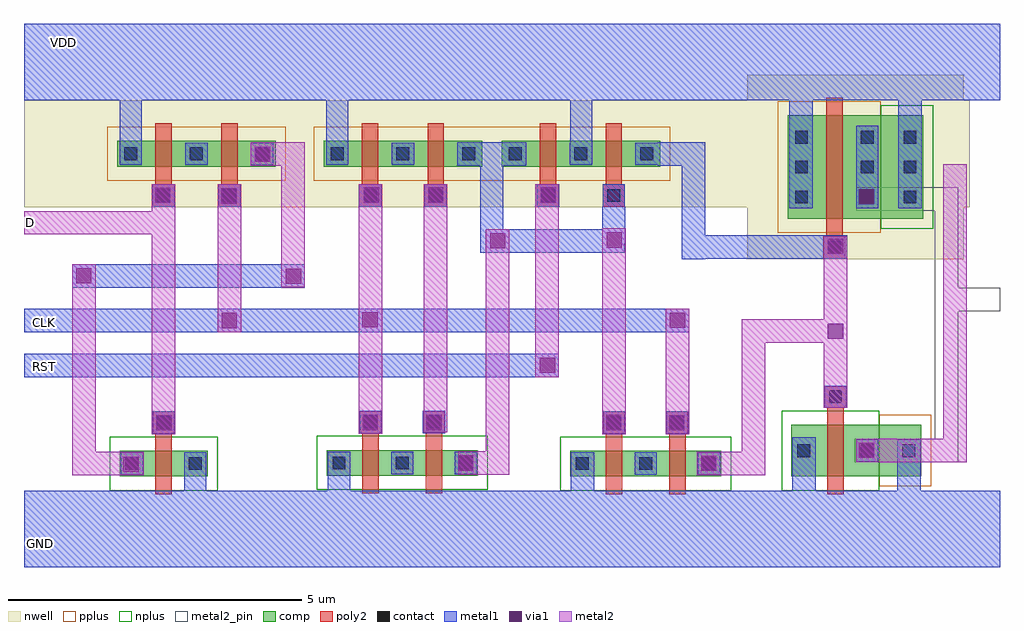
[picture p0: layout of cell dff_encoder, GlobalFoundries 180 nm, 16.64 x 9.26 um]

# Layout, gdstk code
import gdstk
lib = gdstk.Library(unit=1e-6, precision=5e-09)
def R(c, l, rs):  # rectangles x0, y0, x1, y1
    for r in rs: c.add(gdstk.rectangle(r[:2], r[2:], *l))
def A(c, l, x, y, w, h, nx, ny, dx, dy):  # array of equal rectangles
    R(c, l, [(x+i*dx, y+j*dy, x+i*dx+w, y+j*dy+h) for i in range(nx) for j in range(ny)])
nwell = (21, 0)
comp = (22, 0)
poly2 = (30, 0)
pplus = (31, 0)
nplus = (32, 0)
contact = (33, 0)
metal1 = (34, 0)
via1 = (35, 0)
metal2 = (36, 0)
metal2_pin = (36, 10)

pfet = lib.new_cell('pfet')
R(pfet, nwell, [(-0.9,-0.44,1.56,0.88)])
R(pfet, comp, [(-0.46,0,0,0.44), (0,0,0.66,0.44), (0.66,0,1.12,0.44)])
R(pfet, poly2, [(0.14,-0.68,0.52,-0.3), (0.19,-0.3,0.47,0.74)])
R(pfet, pplus, [(-0.63,-0.24,1.29,0.68)])
R(pfet, contact, [(0.22,-0.6,0.44,-0.38), (-0.34,0.11,-0.12,0.33), (0.78,0.11,1,0.33)])
R(pfet, metal1, [(0.14,-0.68,0.52,-0.3), (-0.42,0.03,-0.04,0.41), (0.7,0.03,1.08,0.41)])

nfet_1 = lib.new_cell('nfet$1')
R(nfet_1, comp, [(-0.42,0,0,0.44), (0,0,0.66,0.44), (0.66,0,1.08,0.44)])
R(nfet_1, poly2, [(0.19,-0.3,0.47,0.74), (0.15,0.74,0.51,1.1)])
R(nfet_1, nplus, [(-0.59,-0.24,1.25,0.68)])
R(nfet_1, contact, [(-0.32,0.11,-0.1,0.33), (0.76,0.11,0.98,0.33), (0.22,0.81,0.44,1.03)])
R(nfet_1, metal1, [(-0.4,0.03,-0.02,0.41), (0.68,0.03,1.06,0.41), (0.14,0.73,0.52,1.11)])

nfet_2 = lib.new_cell('nfet$2')
R(nfet_2, comp, [(-0.42,0,0,0.88), (0,0,0.66,0.88), (0.66,0,1.08,0.88), (1.08,0,1.79,0.88)])
R(nfet_2, poly2, [(0.19,-0.3,0.47,1.18), (0.15,1.18,0.51,1.54)])
R(nfet_2, pplus, [(1.08,-0.17,1.96,1.05)])
R(nfet_2, nplus, [(-0.59,-0.24,1.08,1.12)])
R(nfet_2, contact, [(-0.32,0.33,-0.1,0.55), (0.76,0.33,0.98,0.55), (1.47,0.33,1.69,0.55), (0.22,1.25,0.44,1.47)])
R(nfet_2, metal1, [(-0.4,0.25,-0.02,0.63), (0.68,0.25,1.06,0.63), (1.39,0.25,1.77,0.63), (0.14,1.17,0.52,1.55)])

pfet_1 = lib.new_cell('pfet$1')
R(pfet_1, nwell, [(-1.15,-0.69,2.54,2.45)])
R(pfet_1, comp, [(-0.46,0,0,1.76), (0,0,0.66,1.76), (0.66,0,1.12,1.76), (1.12,0,1.85,1.76)])
R(pfet_1, poly2, [(0.14,-0.68,0.52,-0.3), (0.19,-0.3,0.47,2.06)])
R(pfet_1, pplus, [(-0.63,-0.24,1.12,2)])
R(pfet_1, nplus, [(1.12,-0.17,2.02,1.93)])
A(pfet_1, contact, -0.34, 0.26, 0.22, 0.22, 1, 3, 0, 0.51)
A(pfet_1, contact, 0.78, 0.26, 0.22, 0.22, 1, 3, 0, 0.51)
A(pfet_1, contact, 1.51, 0.26, 0.22, 0.22, 1, 3, 0, 0.51)
R(pfet_1, contact, [(0.22,-0.6,0.44,-0.38)])
R(pfet_1, metal1, [(0.14,-0.68,0.52,-0.3), (-0.42,0.18,-0.04,1.58), (0.7,0.18,1.08,1.58), (1.43,0.18,1.81,1.58)])

dff_encoder = lib.new_cell('dff_encoder')
R(dff_encoder, nwell, [(1.465,7.17,17.58,8.99)])
R(dff_encoder, metal1, [(1.465,1.035,18.1,2.34), (10.78,2.34,11.18,2.99), (1.46,5.035,5.11,5.435), (11.315,6.56,11.715,7.18), (8.845,7.88,10.025,8.28), (1.465,8.99,18.1,10.295)])
R(dff_encoder, via1, [(3.155,2.66,3.415,2.92), (13.005,2.675,13.265,2.935), (8.86,2.68,9.12,2.94), (15.695,2.895,15.955,3.155), (3.715,3.365,3.975,3.625), (12.46,3.365,12.72,3.625), (7.235,3.37,7.495,3.63), (8.32,3.37,8.58,3.63), (11.385,3.37,11.645,3.63), (10.255,4.345,10.515,4.605), (15.165,4.925,15.425,5.185), (4.83,5.11,5.09,5.37), (12.47,5.115,12.73,5.375), (7.23,5.12,7.49,5.38), (5.925,5.865,6.185,6.125), (2.35,5.87,2.61,6.13), (15.165,6.375,15.425,6.635), (9.405,6.47,9.665,6.73), (11.395,6.48,11.655,6.74), (15.695,7.22,15.955,7.48), (4.825,7.23,5.085,7.49), (3.695,7.245,3.955,7.505), (7.255,7.25,7.515,7.51), (8.35,7.25,8.61,7.51), (10.27,7.25,10.53,7.51), (5.395,7.945,5.655,8.205)])
R(dff_encoder, metal2, [(5.33,7.88,6.25,8.28)])
dff_encoder.add(gdstk.FlexPath([(16.565,7.155),(16.565,8.99)], 0.4, ends="flush", simple_path=True, layer=34, datatype=0))  # metal1
dff_encoder.add(gdstk.FlexPath([(14.755,2.83),(14.755,2.34)], 0.4, ends="flush", simple_path=True, layer=34, datatype=0))  # metal1
dff_encoder.add(gdstk.FlexPath([(14.755,2.83),(14.755,3.25)], 0.4, ends="flush", simple_path=True, layer=34, datatype=0))  # metal1
dff_encoder.add(gdstk.FlexPath([(16.545,3.21),(16.545,2.34)], 0.4, ends="flush", simple_path=True, layer=34, datatype=0))  # metal1
dff_encoder.add(gdstk.FlexPath([(14.705,7.155),(14.705,8.99)], 0.4, ends="flush", simple_path=True, layer=34, datatype=0))  # metal1
dff_encoder.add(gdstk.FlexPath([(12.265,8.08),(12.875,8.08),(12.875,6.285)], 0.4, ends="flush", simple_path=True, layer=34, datatype=0))  # metal1
dff_encoder.add(gdstk.FlexPath([(12.675,6.495),(15.495,6.495)], 0.4, ends="flush", simple_path=True, layer=34, datatype=0))  # metal1
dff_encoder.add(gdstk.FlexPath([(3.28,8.27),(3.28,8.99)], 0.38, ends="flush", simple_path=True, layer=34, datatype=0))  # metal1
dff_encoder.add(gdstk.FlexPath([(6.8,8.27),(6.8,8.99)], 0.38, ends="flush", simple_path=True, layer=34, datatype=0))  # metal1
dff_encoder.add(gdstk.FlexPath([(4.83,5.24),(12.8,5.24)], 0.4, ends="flush", simple_path=True, layer=34, datatype=0))  # metal1
dff_encoder.add(gdstk.FlexPath([(6.25,5.995),(2.28,5.995)], 0.4, ends="flush", simple_path=True, layer=34, datatype=0))  # metal1
dff_encoder.add(gdstk.FlexPath([(10.58,4.475),(1.465,4.475)], 0.4, ends="flush", simple_path=True, layer=34, datatype=0))  # metal1
dff_encoder.add(gdstk.FlexPath([(10.96,8.27),(10.96,8.99),(10.96,8.99),(10.96,8.99)], 0.38, ends="flush", simple_path=True, layer=34, datatype=0))  # metal1
dff_encoder.add(gdstk.FlexPath([(9.435,7.89),(9.435,6.595),(11.705,6.595)], 0.4, ends="flush", simple_path=True, layer=34, datatype=0))  # metal1
dff_encoder.add(gdstk.FlexPath([(4.38,2.61),(4.38,2.34)], 0.38, ends="flush", simple_path=True, layer=34, datatype=0))  # metal1
dff_encoder.add(gdstk.FlexPath([(6.83,2.62),(6.83,2.335)], 0.38, ends="flush", simple_path=True, layer=34, datatype=0))  # metal1
dff_encoder.add(gdstk.FlexPath([(15.49,5.06),(13.7,5.06)], 0.4, ends="flush", simple_path=True, layer=36, datatype=0))  # metal2
dff_encoder.add(gdstk.FlexPath([(15.295,3.75),(15.295,6.675),(15.295,6.675)], 0.4, ends="flush", simple_path=True, layer=36, datatype=0))  # metal2
dff_encoder.add(gdstk.FlexPath([(15.645,3.02),(17.33,3.02),(17.33,7.9)], 0.4, ends="flush", simple_path=True, layer=36, datatype=0))  # metal2
dff_encoder.add(gdstk.FlexPath([(6.05,8.27),(6.05,5.805)], 0.4, ends="flush", simple_path=True, layer=36, datatype=0))  # metal2
dff_encoder.add(gdstk.FlexPath([(3.84,7.56),(3.84,3.3)], 0.4, ends="flush", simple_path=True, layer=36, datatype=0))  # metal2
dff_encoder.add(gdstk.FlexPath([(3.84,6.905),(1.465,6.905)], 0.4, ends="flush", simple_path=True, layer=36, datatype=0))  # metal2
dff_encoder.add(gdstk.FlexPath([(2.48,6.195),(2.48,2.6)], 0.4, ends="flush", simple_path=True, layer=36, datatype=0))  # metal2
dff_encoder.add(gdstk.FlexPath([(4.96,7.56),(4.96,5.075)], 0.4, ends="flush", simple_path=True, layer=36, datatype=0))  # metal2
dff_encoder.add(gdstk.FlexPath([(8.475,7.56),(8.475,3.33)], 0.4, ends="flush", simple_path=True, layer=36, datatype=0))  # metal2
dff_encoder.add(gdstk.FlexPath([(8.86,2.81),(9.735,2.81)], 0.4, ends="flush", simple_path=True, layer=36, datatype=0))  # metal2
dff_encoder.add(gdstk.FlexPath([(7.365,3.31),(7.365,7.56)], 0.4, ends="flush", simple_path=True, layer=36, datatype=0))  # metal2
dff_encoder.add(gdstk.FlexPath([(10.38,4.365),(10.38,7.56)], 0.4, ends="flush", simple_path=True, layer=36, datatype=0))  # metal2
dff_encoder.add(gdstk.FlexPath([(9.535,6.795),(9.535,2.87)], 0.4, ends="flush", simple_path=True, layer=36, datatype=0))  # metal2
dff_encoder.add(gdstk.FlexPath([(12.6,5.44),(12.6,3.3)], 0.4, ends="flush", simple_path=True, layer=36, datatype=0))  # metal2
dff_encoder.add(gdstk.FlexPath([(12.93,2.8),(13.9,2.8),(13.9,5.26),(13.9,5.26),(13.9,5.26)], 0.4, ends="flush", simple_path=True, layer=36, datatype=0))  # metal2
dff_encoder.add(gdstk.FlexPath([(3.5,2.8),(2.28,2.8)], 0.4, ends="flush", simple_path=True, layer=36, datatype=0))  # metal2
dff_encoder.add(gdstk.FlexPath([(10.38,4.365),(10.38,4.275),(10.38,4.275)], 0.4, ends="flush", simple_path=True, layer=36, datatype=0))  # metal2
dff_encoder.add(gdstk.FlexPath([(4.96,5.075),(4.96,5.035),(4.96,5.035)], 0.4, ends="flush", simple_path=True, layer=36, datatype=0))  # metal2
dff_encoder.add(gdstk.FlexPath([(11.52,6.815),(11.52,3.3)], 0.4, ends="flush", simple_path=True, layer=36, datatype=0))  # metal2
dff_encoder.add(gdstk.FlexPath([(15.625,3.02),(17.19,3.02),(17.19,7.31),(15.645,7.31)], 0.4, ends="flush", simple_path=True, layer=36, datatype=10))  # metal2_pin
dff_encoder.add(gdstk.FlexPath([(17.19,5.595),(18.1,5.595)], 0.4, ends="flush", simple_path=True, layer=36, datatype=10))  # metal2_pin
dff_encoder.add(gdstk.Reference(pfet, (4.63,7.86)))
dff_encoder.add(gdstk.Reference(pfet, (7.03,7.86)))
dff_encoder.add(gdstk.Reference(pfet, (3.51,7.86)))
dff_encoder.add(gdstk.Reference(pfet, (8.15,7.86)))
dff_encoder.add(gdstk.Reference(pfet, (10.065,7.86)))
dff_encoder.add(gdstk.Reference(pfet, (11.185,7.86)))
dff_encoder.add(gdstk.Reference(nfet_1, (12.27,2.58)))
dff_encoder.add(gdstk.Reference(nfet_1, (11.19,2.58)))
dff_encoder.add(gdstk.Reference(nfet_1, (7.04,2.59)))
dff_encoder.add(gdstk.Reference(nfet_1, (8.12,2.59)))
dff_encoder.add(gdstk.Reference(nfet_1, (3.51,2.58)))
dff_encoder.add(gdstk.Reference(nfet_2, (14.965,2.58)))
dff_encoder.add(gdstk.Reference(pfet_1, (14.945,6.975)))
dff_encoder.add(gdstk.Label('Q', (18.825,5.315), layer=34, texttype=10))
dff_encoder.add(gdstk.Label('VDD', (2.135,9.98), layer=34, texttype=10))
dff_encoder.add(gdstk.Label('CLK', (1.815,5.205), layer=34, texttype=10))
dff_encoder.add(gdstk.Label('RST', (1.815,4.46), layer=34, texttype=10))
dff_encoder.add(gdstk.Label('GND', (1.745,1.44), layer=34, texttype=10))
dff_encoder.add(gdstk.Label('D', (1.575,6.905), layer=36, texttype=10))

lib.write_gds('dff_encoder.gds')
